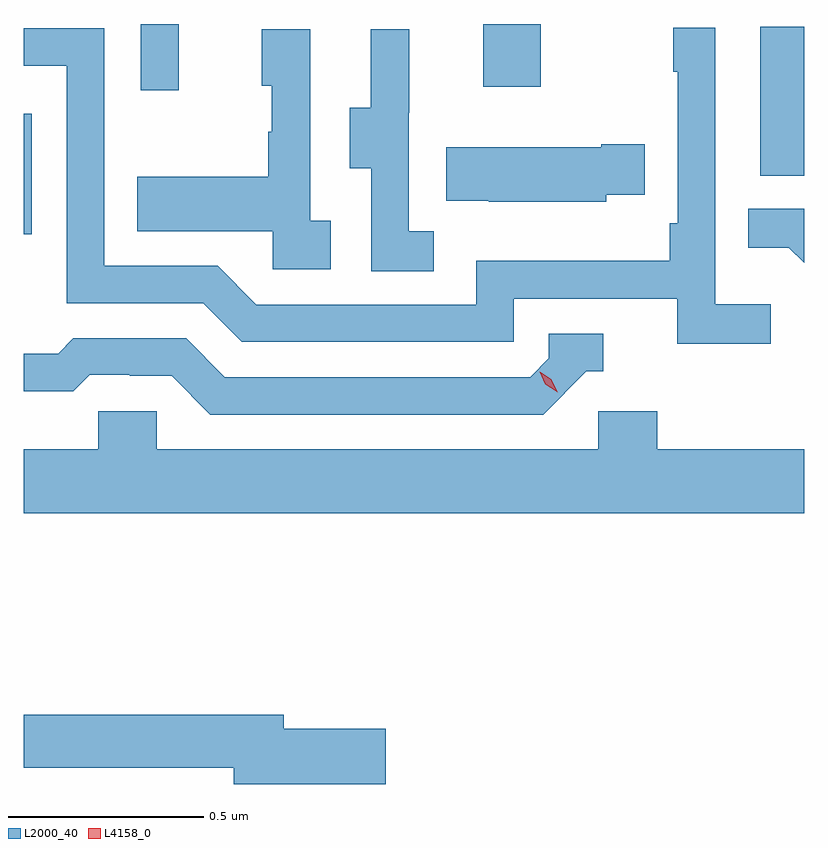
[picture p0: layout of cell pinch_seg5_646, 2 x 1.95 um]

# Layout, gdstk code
import gdstk
lib = gdstk.Library(unit=1e-6, precision=1e-09)
def R(c, l, rs):  # rectangles x0, y0, x1, y1
    for r in rs: c.add(gdstk.rectangle(r[:2], r[2:], *l))
def P(c, l, *ps):  # polygons
    for p in ps: c.add(gdstk.Polygon(p, *l))
L2000_40 = (2000, 40)
L4158_0 = (4158, 0)

pinch_seg5_646 = lib.new_cell('pinch_seg5_646')
R(pinch_seg5_646, L2000_40, [(1056.136,864.135,1056.156,864.444), (1058.024,864.285,1058.136,864.667), (1056.435,864.504,1056.533,864.674), (1057.313,864.513,1057.461,864.674)])
P(pinch_seg5_646, L2000_40, [(1058.05,863.956),(1057.908,863.956),(1057.908,864.664),(1057.8,864.664),(1057.8,864.551),(1057.812,864.551),(1057.812,864.163),(1057.792,864.163),(1057.792,864.067),(1057.296,864.067),(1057.296,863.955),(1056.732,863.955),(1056.633,864.054),(1056.342,864.054),(1056.342,864.663),(1056.136,864.663),(1056.136,864.567),(1056.246,864.567),(1056.246,863.958),(1056.596,863.958),(1056.695,863.859),(1057.392,863.859),(1057.392,863.97),(1057.811,863.97),(1057.811,863.854),(1058.05,863.854)],
  [(1056.922,864.17),(1056.87,864.17),(1056.87,864.661),(1056.746,864.661),(1056.746,864.516),(1056.772,864.516),(1056.772,864.398),(1056.762,864.398),(1056.762,864.283),(1056.427,864.283),(1056.427,864.143),(1056.774,864.143),(1056.774,864.045),(1056.922,864.045)],
  [(1057.186,864.143),(1057.122,864.143),(1057.122,864.447),(1057.124,864.447),(1057.124,864.661),(1057.025,864.661),(1057.025,864.459),(1056.971,864.459),(1056.971,864.304),(1057.026,864.304),(1057.026,864.04),(1057.186,864.04)],
  [(1057.629,864.236),(1057.727,864.236),(1057.727,864.366),(1057.616,864.366),(1057.616,864.358),(1057.219,864.358),(1057.219,864.221),(1057.327,864.221),(1057.327,864.218),(1057.629,864.218)],
  [(1058.136,864.2),(1057.993,864.2),(1057.993,864.101),(1058.097,864.101),(1058.136,864.062)],
  [(1057.578,863.784),(1057.621,863.784),(1057.621,863.88),(1057.482,863.88),(1057.482,863.817),(1057.434,863.769),(1056.651,863.769),(1056.552,863.868),(1056.263,863.868),(1056.224,863.829),(1056.136,863.829),(1056.136,863.733),(1056.263,863.733),(1056.305,863.775),(1056.408,863.775),(1056.408,863.772),(1056.515,863.772),(1056.614,863.673),(1057.467,863.673)],
  [(1058.136,863.584),(1057.76,863.584),(1057.76,863.682),(1057.608,863.682),(1057.608,863.584),(1056.477,863.584),(1056.477,863.682),(1056.327,863.682),(1056.327,863.584),(1056.136,863.584),(1056.136,863.42),(1058.136,863.42)],
  [(1057.063,862.868),(1056.802,862.868),(1056.802,862.904),(1056.136,862.904),(1056.136,862.768),(1056.674,862.768),(1056.674,862.726),(1057.063,862.726)])
P(pinch_seg5_646, L4158_0, [(1057.504,863.73),(1057.473,863.75),(1057.458,863.783),(1057.458,863.783),(1057.458,863.783),(1057.488,863.763),(1057.504,863.73),(1057.504,863.73)])

lib.write_gds('pinch_seg5_646.gds')
